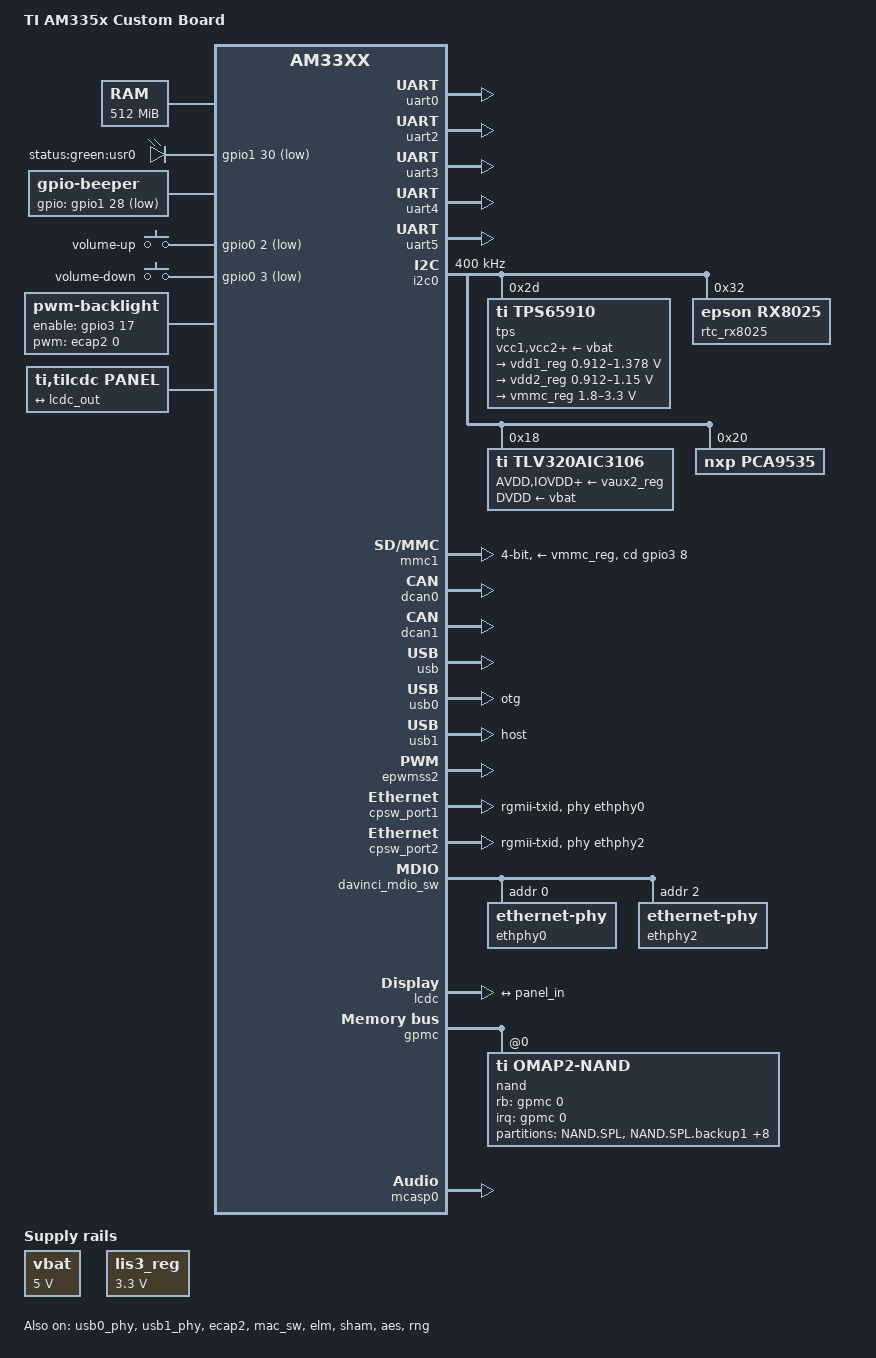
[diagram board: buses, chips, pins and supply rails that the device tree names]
// SPDX-License-Identifier: GPL-2.0-only
/dts-v1/;

#include "am33xx.dtsi"
#include <dt-bindings/input/input.h>
#include <dt-bindings/interrupt-controller/irq.h>

/ {
	model = "TI AM335x Custom Board";
	compatible = "ti,am335x-evm", "ti,am33xx";

	aliases {
		rtc0 = &rtc_rx8025;
		rtc1 = &rtc;
	};

	chosen {
		stdout-path = &uart0;
	};

	memory@80000000 {
		device_type = "memory";
		reg = <0x80000000 0x20000000>; /* 512 MB */
	};

	vbat: regulator-vbat {
		compatible = "regulator-fixed";
		regulator-name = "vbat";
		regulator-min-microvolt = <5000000>;
		regulator-max-microvolt = <5000000>;
		regulator-boot-on;
	};

	lis3_reg: regulator-lis3 {
		compatible = "regulator-fixed";
		regulator-name = "lis3_reg";
		regulator-min-microvolt = <3300000>;
		regulator-max-microvolt = <3300000>;
		regulator-boot-on;
	};

	leds {
		compatible = "gpio-leds";
		pinctrl-names = "default";
		pinctrl-0 = <&led_gpio_pins>;

		led-status {
			label = "status:green:usr0";
			gpios = <&gpio1 30 GPIO_ACTIVE_LOW>;
			linux,default-trigger = "heartbeat";
		};
	};

	beeper {
		compatible = "gpio-beeper";
		pinctrl-names = "default";
		pinctrl-0 = <&buzzer_gpio_pins>;
		gpios = <&gpio1 28 GPIO_ACTIVE_LOW>;
	};

	volume-keys {
		compatible = "gpio-keys";
		autorepeat;

		button-vol-up {
			label = "volume-up";
			linux,code = <KEY_VOLUMEUP>;
			gpios = <&gpio0 2 GPIO_ACTIVE_LOW>;
			wakeup-source;
		};

		button-vol-down {
			label = "volume-down";
			linux,code = <KEY_VOLUMEDOWN>;
			gpios = <&gpio0 3 GPIO_ACTIVE_LOW>;
			wakeup-source;
		};
	};

	backlight: backlight {
		compatible = "pwm-backlight";
		pwms = <&ecap2 0 50000 0>;
		brightness-levels = <0 32 64 96 128 159 191 223 255>;
		default-brightness-level = <8>;
		enable-gpios = <&gpio3 17 GPIO_ACTIVE_HIGH>;
	};

	panel {
		compatible = "ti,tilcdc,panel";
		status = "okay";

		panel-info {
			ac-bias = <255>;
			ac-bias-intrpt = <0>;
			dma-burst-sz = <16>;
			bpp = <32>;
			fdd = <0x80>;
			sync-edge = <0>;
			sync-ctrl = <1>;
			raster-order = <0>;
			fifo-th = <0>;
		};

		display-timings {
			native-mode = <&timing0>;

			timing0: 800x480p62 {
				clock-frequency = <30000000>;
				hactive = <800>;
				vactive = <480>;
				hfront-porch = <39>;
				hback-porch = <39>;
				hsync-len = <47>;
				vback-porch = <29>;
				vfront-porch = <13>;
				vsync-len = <2>;
				hsync-active = <1>;
				vsync-active = <1>;
			};
		};

		port {
			panel_in: endpoint {
				remote-endpoint = <&lcdc_out>;
			};
		};
	};

	sound {
		compatible = "simple-audio-card";
		simple-audio-card,name = "AM335x-EVM";
		simple-audio-card,widgets =
			"Headphone", "Headphone Jack",
			"Line", "Line Out",
			"Microphone", "Mic Jack",
			"Line", "Line In";
		simple-audio-card,routing =
			"Headphone Jack", "HPLOUT",
			"Headphone Jack", "HPROUT",
			"Line Out", "LLOUT",
			"Line Out", "RLOUT",
			"MIC3L", "Mic Bias",
			"MIC3R", "Mic Bias",
			"Mic Bias", "Mic Jack",
			"LINE1L", "Line In",
			"LINE2L", "Line In",
			"LINE1R", "Line In",
			"LINE2R", "Line In";
		simple-audio-card,format = "dsp_b";
		simple-audio-card,bitclock-master = <&sound_master>;
		simple-audio-card,frame-master = <&sound_master>;
		simple-audio-card,bitclock-inversion;
		simple-audio-card,mclk-fs = <256>;

		simple-audio-card,cpu {
			sound-dai = <&mcasp0>;
		};

		sound_master: simple-audio-card,codec {
			sound-dai = <&tlv320aic3106>;
			system-clock-frequency = <24000000>;
		};
	};
};

&am33xx_pinmux {
	/* 将无主线专用驱动的板级控制引脚(GPRS/LCD使能)纳入默认初始化组 */
	pinctrl-names = "default";
	pinctrl-0 = <&board_misc_gpio_pins>;

	board_misc_gpio_pins: board-misc-gpio-pins {
		pinctrl-single,pins = <
			0x21c 0x17	/* usb0_drvvbus.gpio0_18 (GPRS PWR/EN) */
			0x158 0x07	/* spi0_d1.gpio0_4 (GPRS RST) */
			0x234 0x07	/* usb1_drvvbus.gpio3_13 (LCD PWR/EN) */
		>;
	};

	buzzer_gpio_pins: buzzer-gpio-pins {
		pinctrl-single,pins = <
			0x78 0x17	/* gpmc_be1n.gpio1_28 */
		>;
	};

	led_gpio_pins: led-gpio-pins {
		pinctrl-single,pins = <
			0x80 0x07	/* gpmc_csn1.gpio1_30 */
		>;
	};

	i2c0_pins: i2c0-pins {
		pinctrl-single,pins = <
			0x188 0x30	/* i2c0_sda.i2c0_sda */
			0x18c 0x30	/* i2c0_scl.i2c0_scl */
		>;
	};

	uart0_pins: uart0-pins {
		pinctrl-single,pins = <
			0x170 0x30	/* uart0_rxd.uart0_rxd */
			0x174 0x00	/* uart0_txd.uart0_txd */
		>;
	};

	uart2_pins_default: uart2-pins-default {
		pinctrl-single,pins = <
			0x10c 0x36	/* mii1_crs.uart2_rxd */
			0x110 0x06	/* mii1_rxerr.uart2_txd */
		>;
	};

	uart2_pins_sleep: uart2-pins-sleep {
		pinctrl-single,pins = <
			0x10c 0x27
			0x110 0x27
		>;
	};

	uart3_pins_default: uart3-pins-default {
		pinctrl-single,pins = <
			0x160 0x31	/* spi0_cs1.uart3_rxd */
			0x164 0x01	/* ecap0_in_pwm0_out.uart3_txd */
		>;
	};

	uart3_pins_sleep: uart3-pins-sleep {
		pinctrl-single,pins = <
			0x160 0x27
			0x164 0x27
		>;
	};

	uart4_pins_default: uart4-pins-default {
		pinctrl-single,pins = <
			0x168 0x31	/* uart0_ctsn.uart4_rxd */
			0x16c 0x01	/* uart0_rtsn.uart4_txd */
		>;
	};

	uart4_pins_sleep: uart4-pins-sleep {
		pinctrl-single,pins = <
			0x168 0x27
			0x16c 0x27
		>;
	};

	uart5_pins_default: uart5-pins-default {
		pinctrl-single,pins = <
			0x108 0x33	/* mii1_col.uart5_rxd */
			0x144 0x03	/* rmii1_refclk.uart5_txd */
		>;
	};

	uart5_pins_sleep: uart5-pins-sleep {
		pinctrl-single,pins = <
			0x108 0x27
			0x144 0x27
		>;
	};

	nandflash_pins_default: nandflash-pins-default {
		pinctrl-single,pins = <
			0x00 0x30	/* gpmc_ad0 */
			0x04 0x30	/* gpmc_ad1 */
			0x08 0x30	/* gpmc_ad2 */
			0x0c 0x30	/* gpmc_ad3 */
			0x10 0x30	/* gpmc_ad4 */
			0x14 0x30	/* gpmc_ad5 */
			0x18 0x30	/* gpmc_ad6 */
			0x1c 0x30	/* gpmc_ad7 */
			0x70 0x30	/* gpmc_wait0 */
			0x74 0x37	/* gpmc_wpn */
			0x7c 0x08	/* gpmc_csn0 */
			0x90 0x08	/* gpmc_advn_ale */
			0x94 0x08	/* gpmc_oen_ren */
			0x98 0x08	/* gpmc_wen */
			0x9c 0x08	/* gpmc_be0n_cle */
		>;
	};

	nandflash_pins_sleep: nandflash-pins-sleep {
		pinctrl-single,pins = <
			0x00 0x27 0x04 0x27 0x08 0x27 0x0c 0x27
			0x10 0x27 0x14 0x27 0x18 0x27 0x1c 0x27
			0x70 0x27 0x74 0x27 0x7c 0x27 0x90 0x27
			0x94 0x27 0x98 0x27 0x9c 0x27
		>;
	};

	backlight_pins: backlight-pins {
		pinctrl-single,pins = <
			0x19c 0x04	/* mcasp0_ahclkr.ecap2_in_pwm2_out */
		>;
	};

	ecap2_pins_sleep: ecap2-pins-sleep {
		pinctrl-single,pins = <
			0x19c 0x17
		>;
	};

	cpsw_default: cpsw-default {
		pinctrl-single,pins = <
			/* Slave 1 RGMII */
			0x114 0x02 0x118 0x22 0x11c 0x02 0x120 0x02
			0x124 0x02 0x128 0x02 0x12c 0x02 0x130 0x22
			0x134 0x22 0x138 0x22 0x13c 0x22 0x140 0x22
			/* Slave 2 RGMII */
			0x40 0x02 0x44 0x22 0x48 0x02 0x4c 0x02
			0x50 0x02 0x54 0x02 0x58 0x02 0x5c 0x22
			0x60 0x22 0x64 0x22 0x68 0x22 0x6c 0x22
		>;
	};

	cpsw_sleep: cpsw-sleep {
		pinctrl-single,pins = <
			0x114 0x27 0x118 0x27 0x11c 0x27 0x120 0x27
			0x124 0x27 0x128 0x27 0x12c 0x27 0x130 0x27
			0x134 0x27 0x138 0x27 0x13c 0x27 0x140 0x27
			0x40 0x27 0x44 0x27 0x48 0x27 0x4c 0x27
			0x50 0x27 0x54 0x27 0x58 0x27 0x5c 0x27
			0x60 0x27 0x64 0x27 0x68 0x27 0x6c 0x27
		>;
	};

	davinci_mdio_default: davinci-mdio-default {
		pinctrl-single,pins = <
			0x148 0x70	/* mdio_data */
			0x14c 0x10	/* mdio_clk */
		>;
	};

	davinci_mdio_sleep: davinci-mdio-sleep {
		pinctrl-single,pins = <
			0x148 0x27
			0x14c 0x27
		>;
	};

	mmc1_pins: mmc1-pins {
		pinctrl-single,pins = <
			0xf0 0x30	/* mmc0_dat3 */
			0xf4 0x30	/* mmc0_dat2 */
			0xf8 0x30	/* mmc0_dat1 */
			0xfc 0x30	/* mmc0_dat0 */
			0x100 0x30	/* mmc0_clk */
			0x104 0x30	/* mmc0_cmd */
			0x1e8 0x2f	/* emu1.gpio3_8 (CD) */
		>;
	};

	mmc1_pins_sleep: mmc1-pins-sleep {
		pinctrl-single,pins = <
			0xf0 0x27 0xf4 0x27 0xf8 0x27
			0xfc 0x27 0x100 0x27 0x104 0x27
		>;
	};

	lcd_pins_default: lcd-pins-default {
		pinctrl-single,pins = <
			0x20 0x01 0x24 0x01 0x28 0x01 0x2c 0x01
			0x30 0x01 0x34 0x01 0x38 0x01 0x3c 0x01
			0xa0 0x00 0xa4 0x00 0xa8 0x00 0xac 0x00
			0xb0 0x00 0xb4 0x00 0xb8 0x00 0xbc 0x00
			0xc0 0x00 0xc4 0x00 0xc8 0x00 0xcc 0x00
			0xd0 0x00 0xd4 0x00 0xd8 0x00 0xdc 0x00
			0xe0 0x00 0xe4 0x00 0xe8 0x00 0xec 0x00
		>;
	};

	lcd_pins_sleep: lcd-pins-sleep {
		pinctrl-single,pins = <
			0x20 0x27 0x24 0x27 0x28 0x27 0x2c 0x27
			0x30 0x27 0x34 0x27 0x38 0x27 0x3c 0x27
			0xa0 0x0f 0xa4 0x0f 0xa8 0x0f 0xac 0x0f
			0xb0 0x0f 0xb4 0x0f 0xb8 0x0f 0xbc 0x0f
			0xc0 0x0f 0xc4 0x0f 0xc8 0x0f 0xcc 0x0f
			0xd0 0x0f 0xd4 0x0f 0xd8 0x0f 0xdc 0x0f
			0xe0 0x27 0xe4 0x27 0xe8 0x27 0xec 0x27
		>;
	};

	mcasp0_pins: mcasp0-pins {
		pinctrl-single,pins = <
			0x190 0x20	/* mcasp0_aclkx */
			0x194 0x20	/* mcasp0_fsx */
			0x198 0x20	/* mcasp0_axr0 */
			0x1a8 0x20	/* mcasp0_axr1 */
			0x1ac 0x08	/* mcasp0_ahclkx */
		>;
	};

	mcasp0_pins_sleep: mcasp0-pins-sleep {
		pinctrl-single,pins = <
			0x190 0x27 0x194 0x27 0x198 0x27
			0x1a8 0x27 0x1ac 0x27
		>;
	};

	dcan0_pins: dcan0-pins {
		pinctrl-single,pins = <
			0x178 0x0a	/* uart1_ctsn.dcan0_tx */
			0x17c 0x22	/* uart1_rtsn.dcan0_rx */
		>;
	};

	dcan1_pins: dcan1-pins {
		pinctrl-single,pins = <
			0x180 0x0a	/* uart1_rxd.dcan1_tx */
			0x184 0x22	/* uart1_txd.dcan1_rx */
		>;
	};
};

&uart0 {
	pinctrl-names = "default";
	pinctrl-0 = <&uart0_pins>;
	status = "okay";
};

/*
 * 若板载焊有 TI WiLink 蓝牙模组（原 DTS 中 kim 节点引用 /dev/ttyO1 + GPIO3_21），
 * 取消下方注释即可在现代 Linux 6.12 内核中通过 HCIUART 驱动启用蓝牙：
 *
 * &uart1 {
 * 	status = "okay";
 * 	bluetooth {
 * 		compatible = "ti,wl1835-st";
 * 		enable-gpios = <&gpio3 21 GPIO_ACTIVE_HIGH>;
 * 		max-speed = <3000000>;
 * 	};
 * };
 */

&uart2 {
	pinctrl-names = "default", "sleep";
	pinctrl-0 = <&uart2_pins_default>;
	pinctrl-1 = <&uart2_pins_sleep>;
	status = "okay";
};

&uart3 {
	pinctrl-names = "default", "sleep";
	pinctrl-0 = <&uart3_pins_default>;
	pinctrl-1 = <&uart3_pins_sleep>;
	status = "okay";
};

&uart4 {
	pinctrl-names = "default", "sleep";
	pinctrl-0 = <&uart4_pins_default>;
	pinctrl-1 = <&uart4_pins_sleep>;
	status = "okay";
};

&uart5 {
	pinctrl-names = "default", "sleep";
	pinctrl-0 = <&uart5_pins_default>;
	pinctrl-1 = <&uart5_pins_sleep>;
	status = "okay";
};

&i2c0 {
	pinctrl-names = "default";
	pinctrl-0 = <&i2c0_pins>;
	clock-frequency = <400000>;
	status = "okay";

	tps: tps@2d {
		reg = <0x2d>;
		compatible = "ti,tps65910";
		vcc1-supply = <&vbat>;
		vcc2-supply = <&vbat>;
		vcc3-supply = <&vbat>;
		vcc4-supply = <&vbat>;
		vcc5-supply = <&vbat>;
		vcc6-supply = <&vbat>;
		vcc7-supply = <&vbat>;
		vccio-supply = <&vbat>;

		regulators {
			vrtc_reg: regulator@0 {
				regulator-always-on;
			};

			vio_reg: regulator@1 {
				regulator-always-on;
			};

			vdd1_reg: regulator@2 {
				regulator-name = "vdd_mpu";
				regulator-min-microvolt = <912500>;
				regulator-max-microvolt = <1378000>;
				regulator-boot-on;
				regulator-always-on;
			};

			vdd2_reg: regulator@3 {
				regulator-name = "vdd_core";
				regulator-min-microvolt = <912500>;
				regulator-max-microvolt = <1150000>;
				regulator-boot-on;
				regulator-always-on;
			};

			vdd3_reg: regulator@4 {
				regulator-always-on;
			};

			vdig1_reg: regulator@5 {
				regulator-always-on;
			};

			vdig2_reg: regulator@6 {
				regulator-always-on;
			};

			vpll_reg: regulator@7 {
				regulator-always-on;
			};

			vdac_reg: regulator@8 {
				regulator-always-on;
			};

			vaux1_reg: regulator@9 {
				regulator-always-on;
			};

			vaux2_reg: regulator@10 {
				regulator-always-on;
			};

			vaux33_reg: regulator@11 {
				regulator-always-on;
			};

			vmmc_reg: regulator@12 {
				regulator-min-microvolt = <1800000>;
				regulator-max-microvolt = <3300000>;
				regulator-always-on;
			};
		};
	};

	rtc_rx8025: rtc@32 {
		compatible = "epson,rx8025";
		reg = <0x32>;
	};

	tlv320aic3106: codec@18 {
		#sound-dai-cells = <0>;
		compatible = "ti,tlv320aic3106";
		reg = <0x18>;
		AVDD-supply = <&vaux2_reg>;
		IOVDD-supply = <&vaux2_reg>;
		DRVDD-supply = <&vaux2_reg>;
		DVDD-supply = <&vbat>;
	};

	pca9535: gpio@20 {
		compatible = "nxp,pca9535";
		gpio-controller;
		#gpio-cells = <2>;
		reg = <0x20>;
	};
};

&cpu0 {
	cpu0-supply = <&vdd1_reg>;
};

&wkup_m3_ipc {
	ti,scale-data-fw = "am335x-evm-scale-data.bin";
};

&mmc1 {
	status = "okay";
	vmmc-supply = <&vmmc_reg>;
	bus-width = <4>;
	pinctrl-names = "default", "sleep";
	pinctrl-0 = <&mmc1_pins>;
	pinctrl-1 = <&mmc1_pins_sleep>;
	cd-gpios = <&gpio3 8 GPIO_ACTIVE_HIGH>;
};

&dcan0 {
	pinctrl-names = "default";
	pinctrl-0 = <&dcan0_pins>;
	status = "okay";
};

&dcan1 {
	pinctrl-names = "default";
	pinctrl-0 = <&dcan1_pins>;
	status = "okay";
};

&usb {
	status = "okay";
};

&usb0_phy {
	status = "okay";
};

&usb1_phy {
	status = "okay";
};

&usb0 {
	status = "okay";
	dr_mode = "otg";
};

&usb1 {
	status = "okay";
	dr_mode = "host";
};

&epwmss2 {
	status = "okay";
};

&ecap2 {
	status = "okay";
	pinctrl-names = "default", "sleep";
	pinctrl-0 = <&backlight_pins>;
	pinctrl-1 = <&ecap2_pins_sleep>;
};

/* 现代内核 CPSW Switch 绑定 (替代旧版 ti,cpsw) */
&mac_sw {
	pinctrl-names = "default", "sleep";
	pinctrl-0 = <&cpsw_default>;
	pinctrl-1 = <&cpsw_sleep>;
	status = "okay";
};

&cpsw_port1 {
	phy-handle = <&ethphy0>;
	phy-mode = "rgmii-txid";
	ti,dual-emac-pvid = <1>;
};

&cpsw_port2 {
	phy-handle = <&ethphy2>;
	phy-mode = "rgmii-txid";
	ti,dual-emac-pvid = <2>;
};

&davinci_mdio_sw {
	pinctrl-names = "default", "sleep";
	pinctrl-0 = <&davinci_mdio_default>;
	pinctrl-1 = <&davinci_mdio_sleep>;

	ethphy0: ethernet-phy@0 {
		reg = <0>;
	};

	ethphy2: ethernet-phy@2 {
		reg = <2>;
	};
};

&elm {
	status = "okay";
};

&lcdc {
	status = "okay";
	pinctrl-names = "default", "sleep";
	pinctrl-0 = <&lcd_pins_default>;
	pinctrl-1 = <&lcd_pins_sleep>;

	port {
		lcdc_out: endpoint {
			remote-endpoint = <&panel_in>;
		};
	};
};

&gpmc {
	status = "okay";
	pinctrl-names = "default", "sleep";
	pinctrl-0 = <&nandflash_pins_default>;
	pinctrl-1 = <&nandflash_pins_sleep>;
	ranges = <0 0 0x08000000 0x10000000>;	/* CS0: 256MB for NAND */

	nand@0,0 {
		compatible = "ti,omap2-nand";
		reg = <0 0 4>;
		interrupt-parent = <&gpmc>;
		interrupts = <0 IRQ_TYPE_NONE>, /* fifoevent */
			     <1 IRQ_TYPE_NONE>; /* termcount */
		rb-gpios = <&gpmc 0 GPIO_ACTIVE_HIGH>; /* gpmc_wait0 */
		ti,nand-xfer-type = "prefetch-dma";
		ti,nand-ecc-opt = "bch8";
		ti,elm-id = <&elm>;
		nand-bus-width = <8>;
		gpmc,device-width = <1>;
		gpmc,sync-clk-ps = <0>;
		gpmc,cs-on-ns = <0>;
		gpmc,cs-rd-off-ns = <44>;
		gpmc,cs-wr-off-ns = <44>;
		gpmc,adv-on-ns = <6>;
		gpmc,adv-rd-off-ns = <34>;
		gpmc,adv-wr-off-ns = <44>;
		gpmc,we-on-ns = <0>;
		gpmc,we-off-ns = <40>;
		gpmc,oe-on-ns = <0>;
		gpmc,oe-off-ns = <54>;
		gpmc,access-ns = <64>;
		gpmc,rd-cycle-ns = <82>;
		gpmc,wr-cycle-ns = <82>;
		gpmc,bus-turnaround-ns = <0>;
		gpmc,cycle2cycle-delay-ns = <0>;
		gpmc,clk-activation-ns = <0>;
		gpmc,wr-access-ns = <40>;
		gpmc,wr-data-mux-bus-ns = <0>;

		partitions {
			compatible = "fixed-partitions";
			#address-cells = <1>;
			#size-cells = <1>;

			partition@0 {
				label = "NAND.SPL";
				reg = <0x00000000 0x00020000>;
			};
			partition@20000 {
				label = "NAND.SPL.backup1";
				reg = <0x00020000 0x00020000>;
			};
			partition@40000 {
				label = "NAND.SPL.backup2";
				reg = <0x00040000 0x00020000>;
			};
			partition@60000 {
				label = "NAND.SPL.backup3";
				reg = <0x00060000 0x00020000>;
			};
			partition@80000 {
				label = "NAND.u-boot-spl-os";
				reg = <0x00080000 0x00040000>;
			};
			partition@c0000 {
				label = "NAND.u-boot";
				reg = <0x000c0000 0x00100000>;
			};
			partition@1c0000 {
				label = "NAND.u-boot-env";
				reg = <0x001c0000 0x00020000>;
			};
			partition@1e0000 {
				label = "NAND.u-boot-env.backup1";
				reg = <0x001e0000 0x00020000>;
			};
			partition@200000 {
				label = "NAND.kernel";
				reg = <0x00200000 0x00800000>;
			};
			partition@a00000 {
				label = "NAND.file-system";
				reg = <0x00a00000 0x3f600000>;
			};
		};
	};
};

&mcasp0 {
	#sound-dai-cells = <0>;
	pinctrl-names = "default", "sleep";
	pinctrl-0 = <&mcasp0_pins>;
	pinctrl-1 = <&mcasp0_pins_sleep>;
	status = "okay";
	op-mode = <0>;		/* MCASP_IIS_MODE */
	tdm-slots = <2>;
	serial-dir = <1 2 0 0>;	/* 0: INACTIVE, 1: TX, 2: RX */
	tx-num-evt = <32>;
	rx-num-evt = <32>;
};

&sham {
	status = "okay";
};

&aes {
	status = "okay";
};

&rng {
	status = "okay";
};
